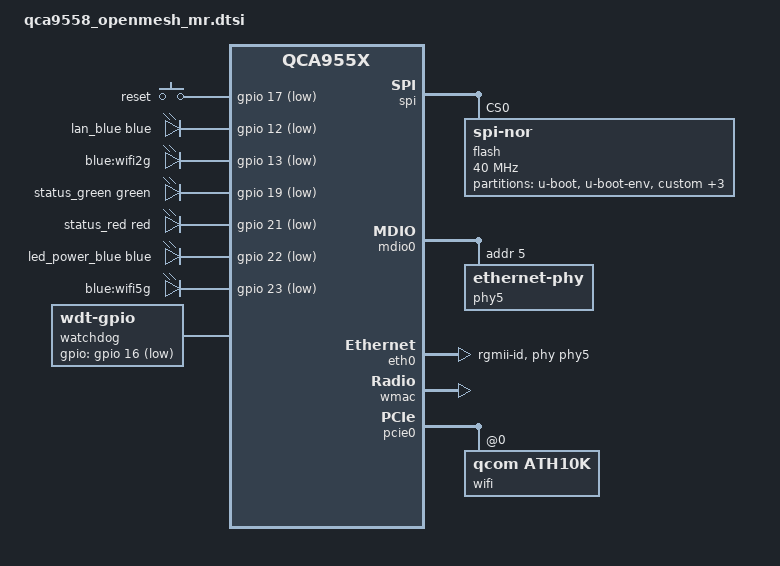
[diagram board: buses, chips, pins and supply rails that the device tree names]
// SPDX-License-Identifier: GPL-2.0-or-later OR MIT

#include "qca955x.dtsi"

#include <dt-bindings/gpio/gpio.h>
#include <dt-bindings/input/input.h>
#include <dt-bindings/leds/common.h>

/ {
	chosen {
		/delete-property/ bootargs;
	};

	aliases {
		led-boot = &led_power_blue;
		led-failsafe = &led_power_blue;
		led-running = &led_power_blue;
		led-upgrade = &led_power_blue;
		label-mac-device = &eth0;
	};

	keys {
		compatible = "gpio-keys";

		reset {
			label = "reset";
			linux,code = <KEY_RESTART>;
			gpios = <&gpio 17 GPIO_ACTIVE_LOW>;
		};
	};

	leds {
		compatible = "gpio-leds";

		lan_blue {
			function = LED_FUNCTION_LAN;
			color = <LED_COLOR_ID_BLUE>;
			gpios = <&gpio 12 GPIO_ACTIVE_LOW>;
		};

		led_wifi2g: wifi2g {
			label = "blue:wifi2g";
			gpios = <&gpio 13 GPIO_ACTIVE_LOW>;
		};

		status_green {
			function = LED_FUNCTION_STATUS;
			color = <LED_COLOR_ID_GREEN>;
			gpios = <&gpio 19 GPIO_ACTIVE_LOW>;
		};

		status_red {
			function = LED_FUNCTION_STATUS;
			color = <LED_COLOR_ID_RED>;
			gpios = <&gpio 21 GPIO_ACTIVE_LOW>;
		};

		led_power_blue: power_blue {
			function = LED_FUNCTION_POWER;
			color = <LED_COLOR_ID_BLUE>;
			gpios = <&gpio 22 GPIO_ACTIVE_LOW>;
			default-state = "on";
		};

		led_wifi5g: wifi5g {
			label = "blue:wifi5g";
			gpios = <&gpio 23 GPIO_ACTIVE_LOW>;
		};
	};

	watchdog {
		compatible = "linux,wdt-gpio";
		gpios = <&gpio 16 GPIO_ACTIVE_LOW>;
		hw_algo = "toggle";
		/* hw_margin_ms is actually 300s but driver limits it to 60s */
		hw_margin_ms = <60000>;
		always-running;
	};
};

&spi {
	status = "okay";

	flash@0 {
		compatible = "jedec,spi-nor";
		reg = <0>;
		spi-max-frequency = <40000000>;

		/* partitions are passed via bootloader */
		partitions {
			compatible = "fixed-partitions";
			#address-cells = <1>;
			#size-cells = <1>;

			partition@0 {
				label = "u-boot";
				reg = <0x000000 0x040000>;
				read-only;
			};

			partition@40000 {
				label = "u-boot-env";
				reg = <0x040000 0x010000>;
			};

			partition@50000 {
				label = "custom";
				reg = <0x050000 0x060000>;
				read-only;
			};

			partition@b0000 {
				label = "inactive";
				reg = <0x0b0000 0x7a0000>;
			};

			partition@850000 {
				label = "inactive2";
				reg = <0x850000 0x7a0000>;
			};

			partition@ff0000 {
				label = "ART";
				reg = <0xff0000 0x010000>;
				read-only;

				nvmem-layout {
					compatible = "fixed-layout";
					#address-cells = <1>;
					#size-cells = <1>;

					macaddr_art_0: macaddr@0 {
						compatible = "mac-base";
						reg = <0x0 0x6>;
						#nvmem-cell-cells = <1>;
					};

					cal_art_1000: calibration@1000 {
						reg = <0x1000 0x440>;
					};

					cal_art_5000: calibration@5000 {
						reg = <0x5000 0x844>;
					};
				};
			};
		};
	};
};

&mdio0 {
	status = "okay";

	phy5: ethernet-phy@5 {
		reg = <5>;
		eee-broken-100tx;
		eee-broken-1000t;
	};
};

&eth0 {
	status = "okay";

	pll-data = <0x82000000 0x80000101 0x80001313>;

	nvmem-cells = <&macaddr_art_0 0>;
	nvmem-cell-names = "mac-address";

	phy-mode = "rgmii-id";
	phy-handle = <&phy5>;

	gmac-config {
		device = <&gmac>;
		rgmii-enabled = <1>;
	};
};

&wmac {
	status = "okay";

	nvmem-cells = <&macaddr_art_0 1>, <&cal_art_1000>;
	nvmem-cell-names = "mac-address", "calibration";
};

&pcie0 {
	status = "okay";

	wifi@0,0 {
		compatible = "qcom,ath10k";
		reg = <0x0000 0 0 0 0>;
		nvmem-cells = <&cal_art_5000>, <&macaddr_art_0 16>;
		nvmem-cell-names = "calibration", "mac-address";
	};
};
